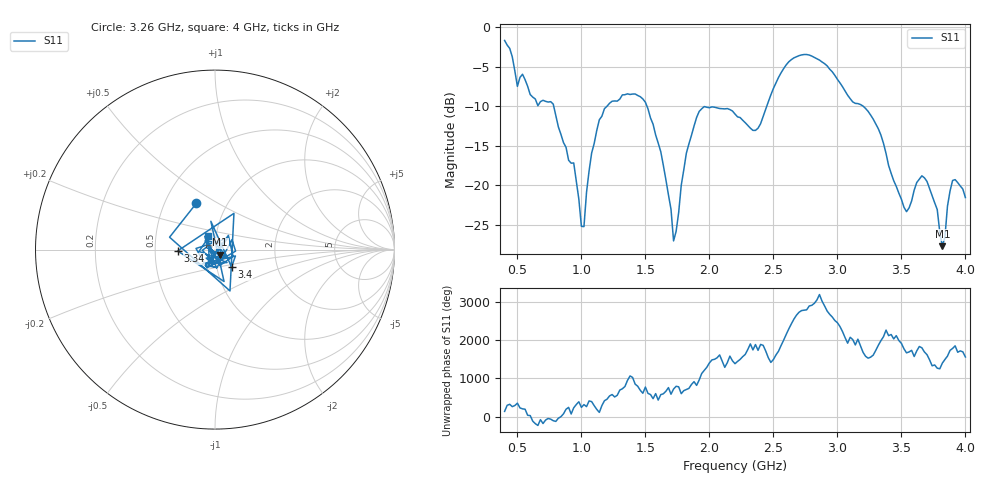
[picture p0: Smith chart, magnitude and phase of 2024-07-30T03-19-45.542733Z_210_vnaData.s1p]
!Created with skrf (http://scikit-rf.org).
# Hz S RI R 50.0
!freq ReS11 ImS11
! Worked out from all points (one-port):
!   181 points, 400 MHz to 4 GHz, reference 50 ohm
!   lowest |S11| = -27.7 dB at 3.82 GHz (marker M1), VSWR 1.09, Z = 52.9 - j3.07 ohm
!   |S11| at or under -10 dB: 783.8 MHz to 1.199 GHz (415.5 MHz wide, 41.9 % of centre); 1.512 GHz to 2.447 GHz (934.9 MHz wide, 47.2 % of centre); 3.202 GHz to end of sweep
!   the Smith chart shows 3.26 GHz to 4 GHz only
!   S11 on the Smith chart (normalised r, x): 3.26 GHz: 0.72, +0.40; 3.34 GHz: 0.66, -0.01; 3.4 GHz: 1.18, -0.23; 4 GHz: 0.92, +0.14
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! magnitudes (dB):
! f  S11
! 400 MHz  -1.7
! 500 MHz  -7.5
! 780 MHz  -9.7
! 860 MHz  -14.6
! 940 MHz  -17.2
! 1.02 GHz  -25.2
! 1.08 GHz  -15.9
! 1.14 GHz  -11.7
! 1.3 GHz  -9.1
! 1.5 GHz  -9.5
! 1.62 GHz  -15.7
! 1.72 GHz  -27.0
! 1.76 GHz  -23.4
! 1.82 GHz  -15.9
! 1.92 GHz  -10.6
! 2.2 GHz  -11.0
! 2.38 GHz  -12.8
! 2.66 GHz  -3.9
! 3.1 GHz  -9.0
! 3.26 GHz  -11.1
! 3.34 GHz  -13.6
! 3.4 GHz  -17.5
! 3.56 GHz  -22.8
! 3.68 GHz  -19.0
! 3.78 GHz  -23.0
! 3.82 GHz  -27.7
! 3.9 GHz  -19.4
! 4 GHz  -21.5
